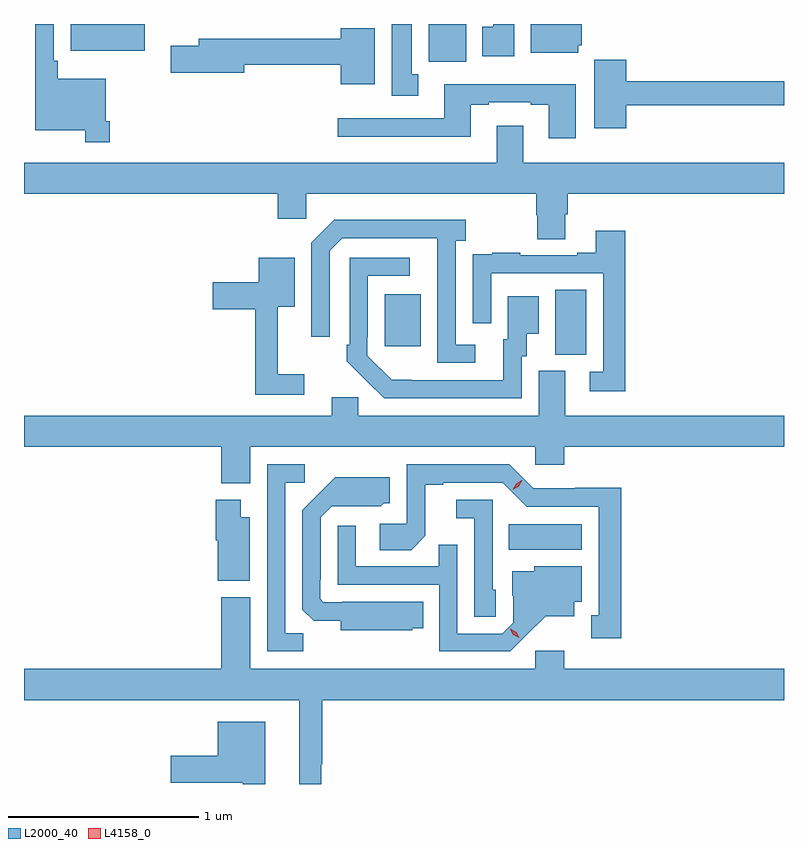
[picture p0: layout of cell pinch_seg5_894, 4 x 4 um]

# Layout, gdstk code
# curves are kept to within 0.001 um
import gdstk
lib = gdstk.Library(unit=1e-6, precision=1e-09)
def R(c, l, rs):  # rectangles x0, y0, x1, y1
    for r in rs: c.add(gdstk.rectangle(r[:2], r[2:], *l))
def P(c, l, *ps):  # polygons
    for p in ps: c.add(gdstk.Polygon(p, *l))
L2000_40 = (2000, 40)
L4158_0 = (4158, 0)

pinch_seg5_894 = lib.new_cell('pinch_seg5_894')
R(pinch_seg5_894, L2000_40, [(684.154,912.164,684.538,912.298), (684.398,913.189,684.562,913.532), (683.501,913.233,683.689,913.507), (683.732,914.732,683.929,914.93), (681.848,914.789,682.237,914.93)])
P(pinch_seg5_894, L2000_40, [(682.052,914.419),(682.032,914.419),(682.032,914.641),(681.779,914.641),(681.779,914.737),(681.759,914.737),(681.759,914.93),(681.662,914.93),(681.662,914.372),(681.924,914.372),(681.924,914.307),(682.052,914.307)],
  [(684.52,914.817),(684.538,914.817),(684.538,914.93),(684.269,914.93),(684.269,914.78),(684.52,914.78)],
  [(683.677,914.666),(683.644,914.666),(683.644,914.93),(683.537,914.93),(683.537,914.553),(683.677,914.553)],
  [(684.181,914.93),(684.071,914.93),(684.071,914.916),(684.014,914.916),(684.014,914.76),(684.181,914.76)],
  [(683.449,914.908),(683.27,914.908),(683.27,914.852),(682.523,914.852),(682.523,914.816),(682.374,914.816),(682.374,914.674),(682.762,914.674),(682.762,914.716),(683.27,914.716),(683.27,914.612),(683.449,914.612)],
  [(684.773,914.502),(685.602,914.502),(685.602,914.63),(684.773,914.63),(684.773,914.743),(684.602,914.743),(684.602,914.382),(684.773,914.382)],
  [(684.505,914.614),(683.813,914.614),(683.813,914.433),(683.253,914.433),(683.253,914.336),(683.953,914.336),(683.953,914.505),(684.049,914.505),(684.049,914.517),(684.269,914.517),(684.269,914.505),(684.365,914.505),(684.365,914.328),(684.505,914.328)],
  [(684.451,913.93),(684.464,913.93),(684.464,914.036),(685.602,914.036),(685.602,914.2),(684.229,914.2),(684.229,914.395),(684.089,914.395),(684.089,914.2),(681.602,914.2),(681.602,914.036),(682.937,914.036),(682.937,913.905),(683.088,913.905),(683.088,914.036),(684.299,914.036),(684.299,913.923),(684.304,913.923),(684.304,913.798),(684.451,913.798)],
  [(683.977,913.242),(683.874,913.242),(683.874,913.79),(683.926,913.79),(683.926,913.9),(683.236,913.9),(683.115,913.779),(683.115,913.284),(683.211,913.284),(683.211,913.737),(683.277,913.803),(683.777,913.803),(683.778,913.146),(683.977,913.146)],
  [(684.767,913.843),(684.611,913.843),(684.611,913.726),(684.515,913.726),(684.515,913.713),(684.215,913.713),(684.215,913.726),(684.067,913.726),(684.067,913.719),(683.965,913.719),(683.965,913.61),(683.964,913.61),(683.964,913.356),(684.06,913.356),(684.06,913.617),(684.651,913.617),(684.651,913.101),(684.579,913.101),(684.579,912.996),(684.767,912.996)],
  [(684.222,913.182),(684.247,913.182),(684.247,913.301),(684.31,913.301),(684.31,913.498),(684.149,913.498),(684.149,913.272),(684.125,913.272),(684.125,913.056),(683.538,913.057),(683.409,913.185),(683.409,913.285),(683.412,913.285),(683.412,913.605),(683.632,913.605),(683.632,913.701),(683.316,913.701),(683.316,913.243),(683.301,913.243),(683.301,913.155),(683.498,912.96),(684.222,912.96)],
  [(683.077,913.087),(682.937,913.087),(682.937,913.442),(683.026,913.442),(683.026,913.699),(682.838,913.699),(682.838,913.572),(682.596,913.572),(682.596,913.43),(682.819,913.43),(682.819,912.978),(683.077,912.978)],
  [(682.792,912.704),(684.294,912.704),(684.294,912.611),(684.446,912.611),(684.446,912.704),(685.602,912.704),(685.602,912.868),(684.451,912.868),(684.451,913.104),(684.311,913.104),(684.311,912.868),(683.361,912.868),(683.361,912.966),(683.222,912.966),(683.222,912.868),(681.602,912.868),(681.602,912.704),(682.64,912.704),(682.64,912.512),(682.792,912.512)],
  [(684.745,912.488),(684.504,912.488),(684.504,912.486),(684.282,912.486),(684.156,912.612),(683.616,912.612),(683.616,912.3),(683.475,912.3),(683.475,912.16),(683.639,912.16),(683.715,912.236),(683.715,912.504),(683.809,912.504),(683.809,912.516),(684.123,912.516),(684.249,912.39),(684.626,912.39),(684.626,911.817),(684.587,911.817),(684.587,911.697),(684.745,911.697)],
  [(683.073,911.723),(682.977,911.723),(682.977,912.516),(683.08,912.516),(683.08,912.612),(682.881,912.612),(682.881,911.628),(683.073,911.628)],
  [(683.646,911.75),(683.702,911.75),(683.702,911.89),(683.278,911.89),(683.278,911.886),(683.178,911.886),(683.16,911.904),(683.16,912.004),(683.163,912.004),(683.163,912.333),(683.223,912.393),(683.48,912.392),(683.496,912.408),(683.527,912.408),(683.527,912.544),(683.239,912.544),(683.067,912.37),(683.067,911.848),(683.126,911.789),(683.27,911.789),(683.27,911.738),(683.646,911.738)],
  [(682.789,912.334),(682.744,912.334),(682.744,912.427),(682.61,912.427),(682.61,912.213),(682.622,912.213),(682.622,911.999),(682.789,911.999)],
  [(684.084,911.952),(684.069,911.952),(684.069,912.426),(683.877,912.426),(683.877,912.329),(683.973,912.329),(683.973,911.809),(684.084,911.809)],
  [(684.244,911.711),(684.347,911.813),(684.499,911.813),(684.499,911.889),(684.538,911.889),(684.538,912.076),(684.288,912.076),(684.288,912.049),(684.173,912.049),(684.173,911.92),(684.177,911.92),(684.177,911.778),(684.12,911.721),(683.883,911.721),(683.883,912.188),(683.785,912.188),(683.785,912.075),(683.349,912.075),(683.349,912.289),(683.253,912.289),(683.253,911.979),(683.787,911.979),(683.787,911.628),(684.16,911.628)],
  [(683.166,911.035),(683.173,911.035),(683.173,911.372),(685.602,911.372),(685.602,911.536),(684.446,911.536),(684.446,911.632),(684.294,911.632),(684.294,911.536),(682.792,911.536),(682.792,911.914),(682.64,911.914),(682.64,911.536),(681.602,911.536),(681.602,911.372),(683.051,911.372),(683.051,910.93),(683.166,910.93)],
  [(682.873,911.257),(682.622,911.257),(682.622,911.079),(682.374,911.079),(682.374,910.937),(682.752,910.937),(682.752,910.93),(682.873,910.93)])
P(pinch_seg5_894, L4158_0, [(684.174,912.478),(684.174,912.479),(684.192,912.511),(684.223,912.53),(684.224,912.53),(684.224,912.529),(684.206,912.497),(684.174,912.478)],
  [(684.208,911.7),(684.178,911.716),(684.161,911.745),(684.161,911.746),(684.161,911.746),(684.192,911.73),(684.209,911.7),(684.209,911.7)])

lib.write_gds('pinch_seg5_894.gds')
